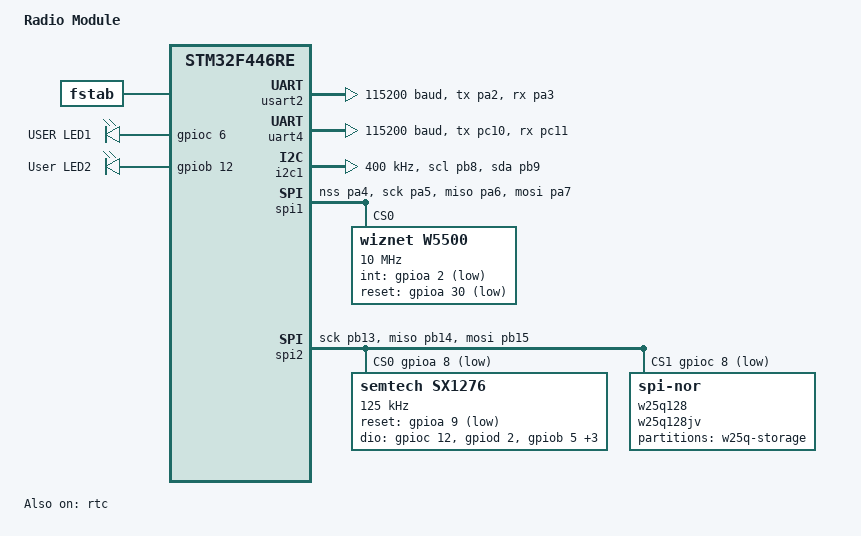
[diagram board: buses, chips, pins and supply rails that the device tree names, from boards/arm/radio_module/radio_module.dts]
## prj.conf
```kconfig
# Copyright (c) 2023 Aaron Chan
# SPDX-License-Identifier: Apache-2.0

CONFIG_STDOUT_CONSOLE=y
CONFIG_CBPRINTF_FP_SUPPORT=y
CONFIG_I2C=y
CONFIG_SENSOR=y
CONFIG_UBXLIB=y
CONFIG_SERIAL=y

# console
CONFIG_CONSOLE=y
CONFIG_UART_CONSOLE=y
CONFIG_CBPRINTF_FP_SUPPORT=y
CONFIG_CONSOLE_SUBSYS=y
CONFIG_CONSOLE_GETCHAR=y
CONFIG_CONSOLE_GETCHAR_BUFSIZE=64
CONFIG_CONSOLE_PUTCHAR_BUFSIZE=512

# enable GPIO
CONFIG_GPIO=y

# File system
CONFIG_FILE_SYSTEM=y
CONFIG_FILE_SYSTEM_LITTLEFS=y
CONFIG_FS_LITTLEFS_FMP_DEV=y
CONFIG_MAIN_STACK_SIZE=4096

# Threads (ubxlib fails without this)
CONFIG_DEBUG_THREAD_INFO=y
CONFIG_INIT_STACKS=y
CONFIG_THREAD_STACK_INFO=y
CONFIG_THREAD_NAME=y
CONFIG_KERNEL_MEM_POOL=y

# Heap (ubxlib fails without this)
CONFIG_HEAP_MEM_POOL_SIZE=1

# enable pin controller
CONFIG_PINCTRL=y
CONFIG_LED=y

# I2C
CONFIG_I2C=y
#CONFIG_I2C_CALLBACK=y

# SPI
CONFIG_SPI=y
# CONFIG_SPI_RTIO=y


# GNSS (MAX-M10S)
CONFIG_UBXLIB=y
CONFIG_GNSS=y
CONFIG_GNSS_SATELLITES=y
CONFIG_GNSS_NMEA0183=y

# LORA
CONFIG_LORA=y
CONFIG_LORA_SX127X=y
#CONFIG_LORA_LOG_LEVEL_DBG=y

# Networking
CONFIG_NET_L2_ETHERNET=y
CONFIG_NETWORKING=y
CONFIG_NET_L2_ETHERNET_MGMT=y
CONFIG_NET_IPV4=y
CONFIG_NET_STATISTICS=y
CONFIG_SHELL=y
CONFIG_PTP_CLOCK=y
CONFIG_NET_DEFAULT_IF_ETHERNET=y
CONFIG_NET_SOCKETS=y
CONFIG_NET_SOCKETS_POSIX_NAMES=y

# Non-Volatile Memory
CONFIG_FLASH=y
CONFIG_FLASH_MAP=y
CONFIG_FLASH_PAGE_LAYOUT=y

# RNG
CONFIG_ENTROPY_GENERATOR=y
CONFIG_TEST_RANDOM_GENERATOR=y
# File System
CONFIG_FILE_SYSTEM_MKFS=y
CONFIG_FILE_SYSTEM_LITTLEFS=y


# Shell
CONFIG_SHELL=y
CONFIG_LORA_SHELL=y
CONFIG_FILE_SYSTEM_SHELL=y
```

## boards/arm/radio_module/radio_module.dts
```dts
/*
 * Copyright (c) 2018 Philémon Jaermann
 *
 * SPDX-License-Identifier: Apache-2.0
 */

/dts-v1/;
#include <st/f4/stm32f446Xe.dtsi>
#include <st/f4/stm32f446r(c-e)tx-pinctrl.dtsi>
#include <zephyr/dt-bindings/input/input-event-codes.h>
#include "radio_module-pinctrl.dtsi"

/ {
	model = "Radio Module";
	compatible = "st,stm32f446re-nucleo";

	chosen {
		zephyr,console = &uart4;
		zephyr,shell-uart = &uart4;
		zephyr,sram = &sram0;
		zephyr,flash = &flash0;
		
        storage = &w25q128;
		logfs = &lfs1;
	};
    
    fstab {
		compatible = "zephyr,fstab";
		lfs1: lfs1 {
			// most of this is taken from the defaults in this compatible's
			// binding
			compatible = "zephyr,fstab,littlefs";
			mount-point = "/lfs";
			partition = <&external_storage_partition>;
			automount;
			// automount causes trouble when we want to do things on startup,
			// leaving it off for now

			read-size = <16>;
			prog-size = <16>;
			cache-size = <64>;
			lookahead-size = <32>;
			block-cycles = <(90 * 1000)>; 
			// the datasheet gives 100K P-E cycles, I stay slightly under that
		};
	};
	
    leds: leds {
		compatible = "gpio-leds";
		red_led_1: led_1 {
			gpios = <&gpioc 6 GPIO_ACTIVE_HIGH>;
			label = "USER LED1";
		};

        red_led_2: led_2 {
			gpios = <&gpiob 12 GPIO_ACTIVE_HIGH>;
			label = "User LED2";
		};

	};

	aliases {
        led0 = &red_led_1;
		led1 = &red_led_2;

        lora0 = &lora;
        dbguart = &uart4;
        ubxlib-usart2 = &usart2;
	};
};

&clk_lsi {
	status = "okay";
};

&clk_hsi {
	clock-frequency = <DT_FREQ_M(16)>;
	status = "okay";
};

//&pll {
//	div-m = <8>;
//	mul-n = <384>;
//	div-p = <2>;
//	div-q = <2>;
//	clocks = <&clk_hsi>;
//	status = "okay";
//};

&rcc {
	clocks = <&clk_hsi>;
	clock-frequency = <DT_FREQ_M(16)>;
	ahb-prescaler = <1>;
	apb1-prescaler = <2>;
	apb2-prescaler = <1>;
};

&usart2 {
	pinctrl-0 = <&usart2_tx_pa2 &usart2_rx_pa3>;
	pinctrl-names = "default";
	current-speed = <115200>;
	status = "okay";

    ubxlib-uart4 {
        status = "okay";
        current-speed = <115200>;
    };
};

&uart4 {
	pinctrl-0 = <&uart4_tx_pc10 &uart4_rx_pc11>;
	pinctrl-names = "default";
	current-speed = <115200>;
	status = "okay";
};

&i2c1 {
	pinctrl-0 = <&i2c1_scl_pb8 &i2c1_sda_pb9>;
	pinctrl-names = "default";
	status = "okay";
	clock-frequency = <I2C_BITRATE_FAST>;
};

&spi1 {
	pinctrl-0 = <&spi1_nss_pa4 &spi1_sck_pa5
		     &spi1_miso_pa6 &spi1_mosi_pa7>;
	pinctrl-names = "default";
	status = "okay";

    w5500: w5500@0 {
        compatible = "wiznet,w5500";
        label = "w5500";
        reg = <0x0>;
        spi-max-frequency = <10000000>;
        int-gpios = <&gpioa 2 GPIO_ACTIVE_LOW>;
        reset-gpios = <&gpioa 30 GPIO_ACTIVE_LOW>;
    };
};

&spi2 {
    pinctrl-0 = <&spi2_sck_pb13 &spi2_miso_pb14 &spi2_mosi_pb15>;
    cs-gpios = <&gpioa 8 GPIO_ACTIVE_LOW
                &gpioc 8 GPIO_ACTIVE_LOW    
                    >;
	pinctrl-names = "default";
	status = "okay";

        lora: sx1276@0 {
    		compatible = "semtech,sx1276";
    		label = "sx1276";
		    reg = <0>;
	    	reset-gpios = <&gpioa 9 GPIO_ACTIVE_LOW>;
    		dio-gpios = <&gpioc 12 (GPIO_PULL_DOWN | GPIO_ACTIVE_HIGH)>,
					    <&gpiod 2 (GPIO_PULL_DOWN | GPIO_ACTIVE_HIGH)>,
				    	<&gpiob 5 (GPIO_PULL_DOWN | GPIO_ACTIVE_HIGH)>,
			    		<&gpioa 12 (GPIO_PULL_DOWN | GPIO_ACTIVE_HIGH)>,
		    			<&gpioa 11 (GPIO_PULL_DOWN | GPIO_ACTIVE_HIGH)>,
	    				<&gpioa 10 (GPIO_PULL_DOWN | GPIO_ACTIVE_HIGH)>;
    		power-amplifier-output = "pa-boost";
    		spi-max-frequency = <125000>;
            status = "okay";
        };

    	w25q128: w25q128jv@1 {
		    compatible = "jedec,spi-nor"; // conforms to JEDEC SFDP
	    	reg = <1>; // connected to to connector 1

    		spi-max-frequency = <(10 * 1000 * 1000)>; // fR = 50 MHz (Table 9.6, p.65)
    		size = <DT_SIZE_M(128)>; // w25q128 - 128 MBit (S 11, p.75) 
	    	jedec-id = [ef 40 18]; // 0xef4018 (Table 8.1.1, p.22)

    		has-dpd;
    		// described as Power-down 0xB9 (S 8.2.21)
		    t-enter-dpd = <(3 * 1000)>; // tDP = 3 us (Table 9.6, p.66)
	    	// described as Release Power-own 0xAB (S 8.2.22)
    		t-exit-dpd = <(3 * 1000)>; // tRES1 = 3 us (Table 9.6, p.66)

    		partitions {
		    	compatible = "fixed-partitions";
	    		#address-cells = <1>;
    			#size-cells = <1>;

		    	external_storage_partition: partition@0 {
	    			label = "w25q-storage";
    				reg = <0 DT_SIZE_M(128)>;
			    };
		    };
	    };
};

&rtc {
	clocks = <&rcc STM32_CLOCK_BUS_APB1 0x10000000>,
		 <&rcc STM32_SRC_LSI RTC_SEL(2)>;
	status = "okay";
};

&backup_sram {
	status = "okay";
};

&flash0 {
	partitions {
		compatible = "fixed-partitions";
		#address-cells = <1>;
		#size-cells = <1>;

		boot_partition: partition@0 {
			label = "mcuboot";
			reg = <0x00000000 DT_SIZE_K(64)>;
			read-only;
		};

		/*
		 * The flash starting at 0x00010000 and ending at
		 * 0x0001ffff (sectors 16-31) is reserved for use
		 * by the application.
		 */
		storage_partition: partition@10000 {
			label = "storage";
			reg = <0x00010000 DT_SIZE_K(64)>;
		};

		slot0_partition: partition@20000 {
			label = "image-0";
			reg = <0x00020000 DT_SIZE_K(128)>;
		};
		slot1_partition: partition@40000 {
			label = "image-1";
			reg = <0x00040000 DT_SIZE_K(128)>;
		};
		scratch_partition: partition@60000 {
			label = "image-scratch";
			reg = <0x00060000 DT_SIZE_K(128)>;
		};
	};
};
```

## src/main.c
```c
#include <zephyr/kernel.h>
#include <app_version.h>
#include <zephyr/drivers/uart.h>

#include <zephyr/drivers/gpio.h>
#include <zephyr/logging/log.h>

#include <zephyr/net/socket.h>
#include <zephyr/net/ethernet.h>
#include <zephyr/net/ethernet_mgmt.h>
#include <zephyr/console/console.h>

#include <zephyr/random/random.h>

#include "net_utils.h"
#include "lora_utils.h"


#define SLEEP_TIME_MS   100

#define LED0_NODE DT_ALIAS(led0)
static const struct gpio_dt_spec led0 = GPIO_DT_SPEC_GET(LED0_NODE, gpios);

#define LED1_NODE DT_ALIAS(led1)
static const struct gpio_dt_spec led1 = GPIO_DT_SPEC_GET(LED1_NODE, gpios);

extern const struct device *const lora_dev;

LOG_MODULE_REGISTER(main, CONFIG_APP_LOG_LEVEL);
K_QUEUE_DEFINE(lora_tx_queue);
K_QUEUE_DEFINE(net_tx_queue);

static int32_t increment_file_int32(char* fname, int32_t* count) {
	int32_t ret;
	int32_t close_ret;
	struct fs_file_t file;


	// prepare file for usage
	fs_file_t_init(&file);
	ret = fs_open(&file, fname, FS_O_CREATE | FS_O_RDWR);
	if (ret < 0) {
		printk("Failed to open %s: %d\n", fname, ret);
		return ret;
	}

	// get the counter from the file
	ret = fs_read(&file, count, sizeof(*count));
	if (ret < 0) {
		printk("Failed to read counter: %d\n", ret);
		goto exit;
	}
	printk("Read counter: %d\n", *count);

	(*count)++;

	// go back to the start of the file
	ret = fs_seek(&file, 0, FS_SEEK_SET);
	if (ret < 0) {
		printk("Failed to seek to start: %d\n", ret);
		goto exit;
	}

	// write the counter to the file
	ret = fs_write(&file, count, sizeof(*count));
	if (ret < 0) {
		printk("Failed to write new count: %d\n", ret);
	}
	
exit:
	close_ret = fs_close(&file);
	if (close_ret < 0) {
		printk("Failed to close %s: %d\n", fname, close_ret);
		return close_ret;
	}
	return ret;
}



static void init() {
    if (!init_sx1276(lora_dev)) {
        int ret = lora_configure(lora_dev, false);
        if (ret != 0) {
            printk("Error initializing LORA device. Got %d", ret);
        } else {
            printk("LoRa configured\n");
        }
    }

    if (!init_eth_iface()) {
        init_net_stack();
    }


    int boot_counter = -1;
	int ret = increment_file_int32("/lfs/boot_count", &boot_counter);
	if (ret >= 0) {
		printk("Successfully read and updated boot counter: %d boots\n", boot_counter);
	} else {
		printk("Failed to read file\n");
	}
}

static void initialize_fake_sensor_data(FAKE_SENSOR_DATA_T *data) {
    // Initialize port with a random value
    sys_rand_get(&data->port, sizeof(data->port));

    // Initialize floating-point values with random data
    float *float_fields[] = {
        &data->pressure_ms5, &data->temperature_ms5,
        &data->pressure_bmp3, &data->temperature_bmp3,
        &data->accel_x, &data->accel_y, &data->accel_z,
        &data->magn_x, &data->magn_y, &data->magn_z,
        &data->gyro_x, &data->gyro_y, &data->gyro_z,
        &data->temperature_tmp
    };

    for (size_t i = 0; i < sizeof(float_fields) / sizeof(float *); ++i) {
        uint32_t random_value;
        sys_rand_get(&random_value, sizeof(random_value));
        float rand_float = (float)(random_value % 100);
        *(float_fields[i]) = rand_float;
    }
}

// int main() {
//     const struct device *uart_dev = DEVICE_DT_GET(DT_ALIAS(dbguart));
//     
//     uint8_t tx_buff[255] = {0};
//     uint8_t tx_buff_len = 0;
//
//     printk("Starting radio module!\n");
//     init();
//
//     while (1) {
//         FAKE_SENSOR_DATA_T data;
//         initialize_fake_sensor_data(&data);
//        
//
//         data.port = 11000;
//         lora_tx(lora_dev, (uint8_t *) &data, sizeof(FAKE_SENSOR_DATA_T));
//         gpio_pin_toggle_dt(&led0);
//         k_msleep(100);
//     }
//     
//     return 0;
// }


int main() {
    init();
    printk("Receiver started\n");
    while (1) {
        int ret = lora_recv_async(lora_dev, lora_debug_recv_cb);
    }

    return 0;
}
```

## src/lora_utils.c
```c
/*
 * Copyright (c) 2023 Aaron Chan
 *
 * SPDX-License-Identifier: Apache-2.0
 */

#include "lora_utils.h"
#include "net_utils.h"

#include <zephyr/kernel.h>
#include <string.h>

const struct device *const lora_dev = DEVICE_DT_GET(DT_ALIAS(lora0));



int init_sx1276(const struct device *const dev) {
    if (!device_is_ready(dev)) {
        printk("Device %s is not ready.\n", dev->name);
        return -ENODEV;
    }
    
    printk("Device %s is ready.\n", dev->name);
    
    return 0;
}


int lora_configure(const struct device *const dev, bool transmit) {
    struct lora_modem_config config = {
        .frequency = 915000000,
        .bandwidth = BW_125_KHZ,
        .datarate = SF_10,
        .preamble_len = 8,
        .coding_rate = CR_4_5,
        .tx_power = 4,
        .iq_inverted = false,
        .public_network = false,
        .tx = transmit
    };

    return lora_config(dev, &config);
}

void lora_debug_recv_cb(const struct device *const dev, uint8_t *data, uint16_t size, int16_t rssi, int8_t snr) {
	if (size != 0) {
		printk("Received %d bytes:\n\tMem View: ",size);
		for (uint16_t i = 0; i < size; i++) printk("0x%02x ",data[i]);
        printk("\n\tVal View: %s\n", data);
		printk("\tRSSI = %ddBm\n\tSNR = %ddBm\n", rssi, snr);

        printk("\n-----------------------------------\n");

        uint16_t port = (data[0] << 8 | data[1]);
        printk("Sending to port %d", port);
        send_udp_broadcast(data + 2, size - 2, port);

        memset(data, 0, size);
	} 
}

int lora_tx(const struct device *const dev, uint8_t *buff, size_t len) {
    printk("Sending packet\n");
    lora_configure(dev, true);
    int ret = lora_send(dev, buff, len);
    lora_configure(dev, false);
    return ret;
}
```

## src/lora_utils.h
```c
/*
 * Copyright (c) 2023 Aaron Chan
 *
 * SPDX-License-Identifier: Apache-2.0
 */

#ifndef LORA_UTILS_H_
#define LORA_UTILS_H_

#include <zephyr/device.h>
#include <zephyr/drivers/lora.h>

typedef struct __attribute__((__packed__)) {
    uint16_t port;
    uint8_t packet[253];
} LORA_PACKET_T;

int init_sx1276(const struct device *const dev);

int lora_configure(const struct device *const dev, bool transmit);

int lora_tx(const struct device *const lora_dev, uint8_t *buff, size_t len);

void lora_debug_recv_cb(const struct device *const dev, uint8_t *data, uint16_t size, int16_t rssi, int8_t snr);

#endif
```

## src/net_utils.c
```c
/*
 * Copyright (c) 2023 Aaron Chan
 *
 * SPDX-License-Identifier: Apache-2.0
 */

#include "net_utils.h"
#include "lora_utils.h"
#include <zephyr/kernel.h>
#include <zephyr/net/socket.h>
#include <zephyr/net/ethernet.h>
#include <zephyr/net/net_event.h>

#include <zephyr/logging/log.h>

LOG_MODULE_REGISTER(net_utils, CONFIG_APP_LOG_LEVEL);

static struct net_if *net_interface;
extern const struct device *const lora_dev;
#define MAX_UDP_PACKET_SIZE 255
int init_eth_iface(void) {
    const struct device *const wiznet = DEVICE_DT_GET_ONE(wiznet_w5500);
    if (!device_is_ready(wiznet)) {
        LOG_INF("Device %s is not ready.\n", wiznet->name);
        return -ENODEV;
    } 
    
    LOG_INF("Device %s is ready.\n", wiznet->name);
    return 0;
}

int init_net_stack(void) {
    static const char ip_addr[] = "10.10.10.12";
    int ret;

    net_interface = net_if_get_default();
    if (!net_interface) {
        LOG_INF("No network interface found\n");
        return -ENODEV;
    }

    struct in_addr addr;
    ret = net_addr_pton(AF_INET, ip_addr, &addr);
    if (ret < 0) {
        LOG_INF("Invalid IP address\n");
        return ret;
    }

    struct net_if_addr *ifaddr = net_if_ipv4_addr_add(net_interface, &addr, NET_ADDR_MANUAL, 0);
    if (!ifaddr) {
        LOG_INF("Failed to add IP address\n");
        return -ENODEV;
    }

    LOG_INF("IPv4 address configured: %s\n", ip_addr);

    return 0;
}

int send_udp_broadcast(const uint8_t *data, size_t data_len, uint16_t port) {
    int sock;
    int ret;

    sock = socket(AF_INET, SOCK_DGRAM, IPPROTO_UDP);
    if (sock < 0) {
        LOG_INF("Failed to create socket (%d)\n", sock);
        return sock;
    }

    struct sockaddr_in dst_addr;
    dst_addr.sin_family = AF_INET;
    dst_addr.sin_port = htons(port);
    ret = net_addr_pton(AF_INET, "255.255.255.255", &dst_addr.sin_addr);
    if (ret < 0) {
        LOG_INF("Invalid IP address format\n");
        close(sock);
        return ret;
    }

    ret = sendto(sock, data, data_len, 0, (struct sockaddr *) &dst_addr, sizeof(dst_addr));
    if (ret < 0) {
        LOG_INF("Failed to send UDP broadcast (%d)\n", ret);
        close(sock);
        return ret;
    }

    LOG_INF("Sent UDP broadcast: %s\n", data);

    close(sock);
    return 0;
}

void receive_udp_task(void *port_arg, void *, void *) {
    int sock;
    int ret;
    int port = POINTER_TO_INT(port_arg);
    printk("Listening on port %d\n", port);
    sock = socket(AF_INET, SOCK_DGRAM, IPPROTO_UDP);
    if (sock < 0) {
        LOG_INF("Failed to create socket (%d)\n", sock);
        return;
    }

    struct sockaddr_in src_addr;
    memset(&src_addr, 0, sizeof(src_addr));
    src_addr.sin_family = AF_INET;
    src_addr.sin_port = htons(port);
    src_addr.sin_addr.s_addr = INADDR_ANY;

    ret = bind(sock, (struct sockaddr *) &src_addr, sizeof(src_addr));
    if (ret < 0) {
        printk("Failed to bind socket (%d)\n", ret);
        close(sock);
        return;
    }

    uint8_t buffer[MAX_UDP_PACKET_SIZE];
    struct sockaddr_in from_addr;
    socklen_t from_addr_len = sizeof(from_addr);
    printk("Entering loop");
    while (1) {
        memset(buffer, 0, MAX_UDP_PACKET_SIZE);
        ret = recvfrom(sock, buffer, MAX_UDP_PACKET_SIZE, 0, (struct sockaddr *) &from_addr, &from_addr_len);
        if (ret < 0) {
            printk("%d: Failed to receive UDP packet (%d)\n", port, ret);
            continue;
        }

        char from_ip[NET_IPV4_ADDR_LEN];
        net_addr_ntop(AF_INET, &from_addr.sin_addr, from_ip, sizeof(from_ip));
        printk("Received UDP packet from %s:%d\n", from_ip, ntohs(from_addr.sin_port));

        LORA_PACKET_T lora_packet = {0};
        lora_packet.port = port;
        memcpy(lora_packet.packet, buffer, ret);
        
        lora_tx(lora_dev, (uint8_t *) &lora_packet, 2 + ret);
        
    }

    close(sock);
}
```

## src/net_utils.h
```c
/*
 * Copyright (c) 2023 Aaron Chan
 *
 * SPDX-License-Identifier: Apache-2.0
 */

#ifndef POWER_MODULE_NET_UTILS_H_
#define POWER_MODULE_NET_UTILS_H_

#include <stdint.h>
#include <stddef.h>

int init_eth_iface(void); 

int init_net_stack(void);

int send_udp_broadcast(const uint8_t *data, size_t data_len, uint16_t port);

void receive_udp_task(void *port_arg, void *, void *);
#endif
```
